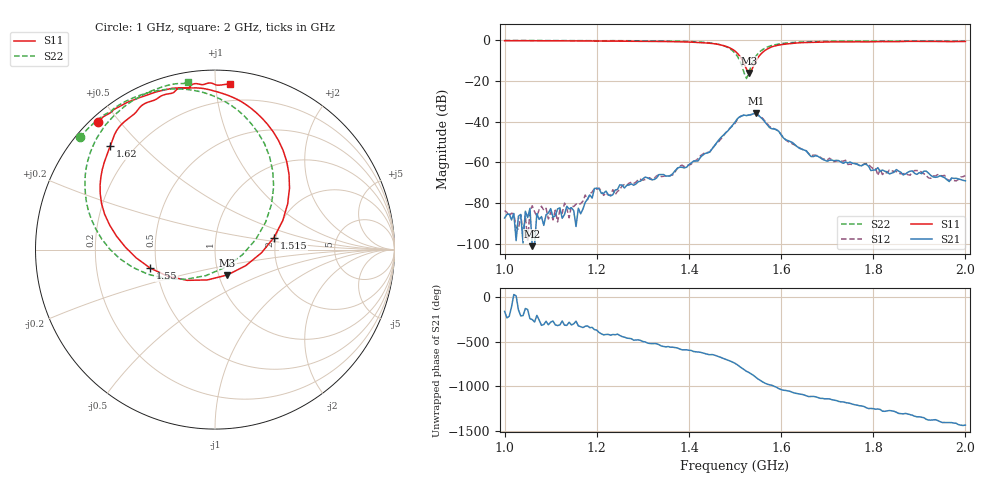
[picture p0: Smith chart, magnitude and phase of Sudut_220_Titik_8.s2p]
# Hz S RI R 50
! CMT, C1220, 16058040, 17.2.0/1
! Date: 14/08/2018 12:07:32
! Data: Format (Calibration Info)
! Freq  S11: Re/Im (F2)  S21: Re/Im (F2)  S12: Re/Im (F2)  S22: Re/Im (F2)
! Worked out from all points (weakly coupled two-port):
!   201 points, 1 GHz to 2 GHz, reference 50 ohm
!   highest |S21| = -35.98 dB at 1.545 GHz (marker M1); lowest = -101.1 dB at 1.06 GHz (marker M2)
!   lowest |S11| = -16.1 dB at 1.53 GHz (marker M3), VSWR 1.37, Z = 55 - j15.9 ohm
!   |S11| at or under -10 dB: 1.516 GHz to 1.546 GHz (29.87 MHz wide, 1.95 % of centre)
!   |S22| runs from -18.8 to -0.2 dB; largest |S21 - S12| = 0.00067
!   S11 on the Smith chart (normalised r, x): 1 GHz: 0.02, +0.44; 1.515 GHz: 1.95, +0.30; 1.55 GHz: 0.46, -0.11; 1.62 GHz: 0.12, +0.41; 2 GHz: 0.09, +1.09
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1e9  -0.6544 0.7096  -4.08e-05 -1.45e-05  -6.18e-05 2.24e-05  -0.7534 0.6256
1.06e9  -0.5984 0.7535  -2.63e-06 8.43e-06  4.6e-06 8.63e-05  -0.7122 0.6702
1.17e9  -0.4866 0.8213  6.84e-05 2.23e-05  0.000111 1.96e-05  -0.6165 0.7514
1.195e9  -0.4499 0.8352  0.000229 -2.18e-05  0.000231 -1.51e-05  -0.587 0.7647
1.23e9  -0.4078 0.8509  5.62e-05 -0.00014  5.63e-05 -0.000148  -0.5605 0.7885
1.25e9  -0.3697 0.8641  8.94e-05 -0.000267  7.71e-05 -0.000197  -0.5356 0.8048
1.335e9  -0.23 0.8995  -0.000501 -4.59e-05  -0.000496 -1.74e-05  -0.3999 0.866
1.365e9  -0.1434 0.9008  -0.000489 0.000207  -0.00047 0.000156  -0.3318 0.8838
1.45e9  0.1713 0.8088  0.000573 0.00205  0.000742 0.00202  0.0245 0.8409
1.5e9  0.4151 0.3414  0.00886 -0.00394  0.00831 -0.00369  0.3268 0.3507
1.515e9  0.3286 0.0673  0.0028 -0.0135  0.00324 -0.0136  0.2269 0.0562
1.525e9  0.1712 -0.0896  -0.0057 -0.0129  -0.00573 -0.013  0.0565 -0.0993
1.53e9  0.0689 -0.1413  -0.00863 -0.0116  -0.00869 -0.0117  -0.0516 -0.1452
1.545e9  -0.2641 -0.1481  -0.0159 2.01e-05  -0.0157 -0.000275  -0.3732 -0.1373
1.55e9  -0.3598 -0.1039  -0.0136 0.00501  -0.0138 0.00452  -0.4585 -0.0989
1.58e9  -0.6322 0.2566  0.000146 0.00668  0.000472 0.00695  -0.7052 0.2161
1.62e9  -0.5839 0.5762  0.00305 0.00109  0.00289 0.00094  -0.7083 0.4968
1.67e9  -0.462 0.7459  0.00112 -0.000821  0.00123 -0.000869  -0.6253 0.6731
1.785e9  -0.2351 0.8727  -0.00086 -0.000262  -0.000877 -0.000328  -0.4447 0.8376
1.81e9  -0.2059 0.8961  -0.000743 -3.6e-05  -0.000474 8.15e-05  -0.4093 0.8583
1.835e9  -0.1604 0.8988  -0.000506 0.000133  -0.000647 8.74e-05  -0.3756 0.8745
2e9  0.0857 0.9209  0.000354 7.89e-06  0.000476 -5.82e-05  -0.151 0.9334
